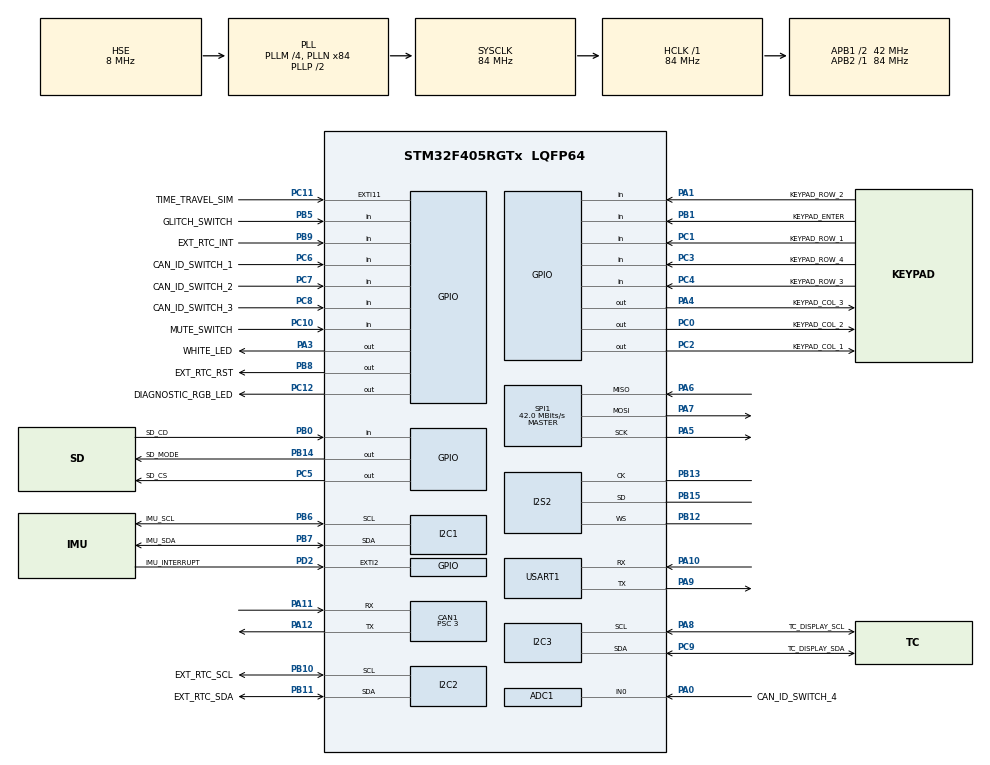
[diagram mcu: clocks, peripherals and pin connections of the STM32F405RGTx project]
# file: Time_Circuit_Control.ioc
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ADC1.Channel-4\#ChannelRegularConversion=ADC_CHANNEL_0
ADC1.NbrOfConversionFlag=1
ADC1.Rank-4\#ChannelRegularConversion=1
ADC1.SamplingTime-4\#ChannelRegularConversion=ADC_SAMPLETIME_3CYCLES
ADC1.master=1
CAN1.BS1=CAN_BS1_10TQ
CAN1.BS2=CAN_BS2_3TQ
CAN1.CalculateBaudRate=1000000
CAN1.CalculateTimeBit=1000
CAN1.CalculateTimeQuantum=71.42857142857143
CAN1.Prescaler=3
Dma.Request0=SPI2_TX
Dma.SPI2_TX.0.Direction=DMA_MEMORY_TO_PERIPH
Dma.SPI2_TX.0.FIFOMode=DMA_FIFOMODE_ENABLE
Dma.SPI2_TX.0.FIFOThreshold=DMA_FIFO_THRESHOLD_FULL
Dma.SPI2_TX.0.Instance=DMA1_Stream4
Dma.SPI2_TX.0.MemBurst=DMA_MBURST_SINGLE
Dma.SPI2_TX.0.MemDataAlignment=DMA_MDATAALIGN_HALFWORD
Dma.SPI2_TX.0.MemInc=DMA_MINC_ENABLE
Dma.SPI2_TX.0.Mode=DMA_CIRCULAR
Dma.SPI2_TX.0.PeriphBurst=DMA_PBURST_SINGLE
Dma.SPI2_TX.0.PeriphDataAlignment=DMA_PDATAALIGN_HALFWORD
Dma.SPI2_TX.0.PeriphInc=DMA_PINC_DISABLE
Dma.SPI2_TX.0.Priority=DMA_PRIORITY_LOW
FREERTOS.Tasks01=MainTask,24,768,StartMainTask,Default,NULL,Dynamic,NULL,NULL;SoundTask,24,512,StartSoundTask,Default,NULL,Dynamic,NULL,NULL;ColonTask,8,256,StartColonTask,Default,NULL,Dynamic,NULL,NULL;CANopenTask,16,256,StartCANopen,Default,NULL,Dynamic,NULL,NULL
FREERTOS.configTOTAL_HEAP_SIZE=0x4000
FREERTOS.configUSE_NEWLIB_REENTRANT=1
I2S2.AudioFreq=I2S_AUDIOFREQ_16K
I2S2.ErrorAudioFreq=-0.26 %
I2S2.FullDuplexMode=I2S_FULLDUPLEXMODE_DISABLE
I2S2.Instance=SPI$Index
I2S2.RealAudioFreq=15.957 KHz
I2S2.VirtualMode=I2S_MODE_MASTER
Mcu.Family=STM32F4
Mcu.Name=STM32F405RGTx
Mcu.Package=LQFP64
NVIC.CAN1_RX0_IRQn=true\:5\:0\:false\:false\:true\:true\:true\:true\:true
NVIC.DMA1_Stream4_IRQn=true\:5\:0\:false\:false\:true\:true\:false\:true\:true
NVIC.EXTI15_10_IRQn=true\:5\:0\:false\:false\:true\:true\:true\:true\:true
NVIC.EXTI2_IRQn=true\:5\:0\:false\:false\:true\:true\:true\:true\:true
NVIC.PriorityGroup=NVIC_PRIORITYGROUP_4
NVIC.TIM6_DAC_IRQn=true\:15\:0\:false\:false\:true\:false\:false\:true\:true
NVIC.TIM7_IRQn=true\:7\:0\:true\:false\:true\:true\:true\:true\:true
NVIC.TimeBase=TIM6_DAC_IRQn
NVIC.TimeBaseIP=TIM6
PA0-WKUP.GPIO_Label=CAN_ID_SWITCH_4
PA0-WKUP.Signal=ADCx_IN0
PA1.GPIO_Label=KEYPAD_ROW_2
PA1.GPIO_PuPd=GPIO_PULLDOWN
PA1.Signal=GPIO_Input
PA10.Mode=Asynchronous
PA10.Signal=USART1_RX
PA11.Mode=CAN_Activate
PA11.Signal=CAN1_RX
PA12.Mode=CAN_Activate
PA12.Signal=CAN1_TX
PA13.Mode=Serial_Wire
PA13.Signal=SYS_JTMS-SWDIO
PA14.Mode=Serial_Wire
PA14.Signal=SYS_JTCK-SWCLK
PA3.GPIO_Label=WHITE_LED
PA3.Signal=GPIO_Output
PA4.GPIO_Label=KEYPAD_COL_3
PA4.Signal=GPIO_Output
PA5.Mode=Full_Duplex_Master
PA5.Signal=SPI1_SCK
PA6.Mode=Full_Duplex_Master
PA6.Signal=SPI1_MISO
PA7.Mode=Full_Duplex_Master
PA7.Signal=SPI1_MOSI
PA8.GPIO_Label=TC_DISPLAY_SCL
PA8.Mode=I2C
PA8.Signal=I2C3_SCL
PA9.Mode=Asynchronous
PA9.Signal=USART1_TX
PB0.GPIO_Label=SD_CD
PB0.Signal=GPIO_Input
PB1.GPIO_Label=KEYPAD_ENTER
PB1.GPIO_PuPd=GPIO_NOPULL
PB1.Signal=GPIO_Input
PB10.GPIO_Label=EXT_RTC_SCL
PB10.Mode=I2C
PB10.Signal=I2C2_SCL
PB11.GPIO_Label=EXT_RTC_SDA
PB11.Mode=I2C
PB11.Signal=I2C2_SDA
PB12.Mode=Half_Duplex_Master
PB12.Signal=I2S2_WS
PB13.Mode=Half_Duplex_Master
PB13.Signal=I2S2_CK
PB14.GPIO_Label=SD_MODE
PB14.GPIO_ModeDefaultOutputPP=GPIO_MODE_OUTPUT_OD
PB14.GPIO_PuPd=GPIO_NOPULL
PB14.PinState=GPIO_PIN_SET
PB14.Signal=GPIO_Output
PB15.Mode=Half_Duplex_Master
PB15.Signal=I2S2_SD
PB5.GPIO_Label=GLITCH_SWITCH
PB5.Signal=GPIO_Input
PB6.GPIO_Label=IMU_SCL
PB6.Mode=I2C
PB6.Signal=I2C1_SCL
PB7.GPIO_Label=IMU_SDA
PB7.Mode=I2C
PB7.Signal=I2C1_SDA
PB8.GPIO_Label=EXT_RTC_RST
PB8.GPIO_PuPd=GPIO_PULLUP
PB8.Signal=GPIO_Output
PB9.GPIO_Label=EXT_RTC_INT
PB9.Signal=GPIO_Input
PC0.GPIO_Label=KEYPAD_COL_2
PC0.Signal=GPIO_Output
PC1.GPIO_Label=KEYPAD_ROW_1
PC1.GPIO_PuPd=GPIO_PULLDOWN
PC1.Signal=GPIO_Input
PC10.GPIO_Label=MUTE_SWITCH
PC10.Signal=GPIO_Input
PC11.GPIO_Label=TIME_TRAVEL_SIM
PC11.Signal=GPXTI11
PC12.GPIO_Label=DIAGNOSTIC_RGB_LED
PC12.Signal=GPIO_Output
PC2.GPIO_Label=KEYPAD_COL_1
PC2.Signal=GPIO_Output
PC3.GPIO_Label=KEYPAD_ROW_4
PC3.GPIO_PuPd=GPIO_PULLDOWN
PC3.Signal=GPIO_Input
PC4.GPIO_Label=KEYPAD_ROW_3
PC4.GPIO_PuPd=GPIO_PULLDOWN
PC4.Signal=GPIO_Input
PC5.GPIO_Label=SD_CS
PC5.GPIO_PuPd=GPIO_NOPULL
PC5.PinState=GPIO_PIN_SET
PC5.Signal=GPIO_Output
PC6.GPIO_Label=CAN_ID_SWITCH_1
PC6.Signal=GPIO_Input
PC7.GPIO_Label=CAN_ID_SWITCH_2
PC7.Signal=GPIO_Input
PC8.GPIO_Label=CAN_ID_SWITCH_3
PC8.Signal=GPIO_Input
PC9.GPIO_Label=TC_DISPLAY_SDA
PC9.Mode=I2C
PC9.Signal=I2C3_SDA
PD2.GPIO_Label=IMU_INTERRUPT
PD2.GPIO_ModeDefaultEXTI=GPIO_MODE_IT_RISING
PD2.GPIO_PuPd=GPIO_NOPULL
PD2.Signal=GPXTI2
PH0-OSC_IN.Mode=HSE-External-Oscillator
PH0-OSC_IN.Signal=RCC_OSC_IN
PH1-OSC_OUT.Mode=HSE-External-Oscillator
PH1-OSC_OUT.Signal=RCC_OSC_OUT
ProjectManager.HeapSize=0x2000
ProjectManager.StackSize=0x2000
ProjectManager.TargetToolchain=CMake
RCC.48MHZClocksFreq_Value=42000000
RCC.AHBFreq_Value=84000000
RCC.APB1CLKDivider=RCC_HCLK_DIV2
RCC.APB1Freq_Value=42000000
RCC.APB1TimFreq_Value=84000000
RCC.APB2Freq_Value=84000000
RCC.APB2TimFreq_Value=84000000
RCC.CortexFreq_Value=84000000
RCC.HCLKFreq_Value=84000000
RCC.HSE_VALUE=8000000
RCC.HSI_VALUE=16000000
RCC.LSE_VALUE=32768
RCC.PLLI2SN=96
RCC.PLLM=4
RCC.PLLN=84
RCC.PLLSourceVirtual=RCC_PLLSOURCE_HSE
RCC.RCC_RTC_Clock_SourceVirtual=RCC_RTCCLKSOURCE_HSE_DIV8
RCC.RCC_RTC_Clock_Source_FROM_HSE=RCC_RTCCLKSOURCE_HSE_DIV8
RCC.SYSCLKFreq_VALUE=84000000
RCC.SYSCLKSource=RCC_SYSCLKSOURCE_PLLCLK
RCC.VCOOutputFreq_Value=168000000
RTC.AsynchPrediv=124
RTC.HourFormat=RTC_HOURFORMAT_12
RTC.SynchPrediv=7999
SH.ADCx_IN0.0=ADC1_IN0,IN0
SPI1.BaudRatePrescaler=SPI_BAUDRATEPRESCALER_2
SPI1.CalculateBaudRate=42.0 MBits/s
SPI1.Direction=SPI_DIRECTION_2LINES
SPI1.Mode=SPI_MODE_MASTER
SPI1.VirtualType=VM_MASTER
TIM7.Period=9
TIM7.Prescaler=8399
USART1.VirtualMode=VM_ASYNC
VP_FATFS_VS_Generic.Mode=User_defined
VP_FREERTOS_VS_CMSIS_V2.Mode=CMSIS_V2
VP_RTC_VS_RTC_Activate.Mode=RTC_Enabled
VP_RTC_VS_RTC_Calendar.Mode=RTC_Calendar
VP_SYS_VS_tim6.Mode=TIM6
VP_TIM7_VS_ClockSourceINT.Mode=Enable_Timer
board=custom

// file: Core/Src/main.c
/* USER CODE BEGIN Header */
/**
  ******************************************************************************
  * @file           : main.c
  * @brief          : Main program body
  ******************************************************************************
  * @attention
  *
  * <h2><center>&copy; Copyright (c) 2022 STMicroelectronics.
  * All rights reserved.</center></h2>
  *
  * This software component is licensed by ST under BSD 3-Clause license,
  * the "License"; You may not use this file except in compliance with the
  * License. You may obtain a copy of the License at:
  *                        opensource.org/licenses/BSD-3-Clause
  *
  ******************************************************************************
  */
/* USER CODE END Header */
#include "main.h"
#include "cmsis_os.h"
#include "adc.h"
#include "can.h"
#include "dma.h"
#include "fatfs.h"
#include "i2c.h"
#include "i2s.h"
#include "rtc.h"
#include "spi.h"
#include "tim.h"
#include "usart.h"
#include "gpio.h"

/* USER CODE BEGIN Includes */
#include "sound_effects.h"
#include "storagedevice_control.h"
#include "timecircuit_control.h"
#include "CO_app_STM32.h"
/* USER CODE END Includes */

/* USER CODE BEGIN PTD */
#include <math.h>
/* USER CODE END PTD */

/* USER CODE BEGIN PV */
// Global handles for config structs
SoundEffects_Config_t* gSoundEffectConfig = NULL;
StorageDevice_Config_t* gStorageConfig = NULL;
TimeCircuit_Control_Config_t* gTimeCircuitConfig = NULL;
/* USER CODE END PV */

void SystemClock_Config(void);
void MX_FREERTOS_Init(void);

int main(void)
{

  /* MCU Configuration--------------------------------------------------------*/

  /* Reset of all peripherals, Initializes the Flash interface and the Systick. */
  HAL_Init();

  /* Configure the system clock */
  SystemClock_Config();

  /* USER CODE BEGIN SysInit */
  HAL_NVIC_DisableIRQ(CAN1_RX0_IRQn);
  /* USER CODE END SysInit */

  /* Initialize all configured peripherals */
  MX_GPIO_Init();
  MX_DMA_Init();
  MX_CAN1_Init();
  MX_I2C1_Init();
  MX_I2C2_Init();
  MX_I2S2_Init();
  MX_I2C3_Init();
  MX_USART1_UART_Init();
  MX_ADC1_Init();
  MX_FATFS_Init();
  MX_RTC_Init();
  MX_SPI1_Init();
  MX_TIM7_Init();
  /* USER CODE BEGIN 2 */

  gStorageConfig = storageDevice_init(&hspi1);
  gSoundEffectConfig = soundEffects_init(&hi2s2);
  gTimeCircuitConfig = timeCircuit_control_init(&hi2c3, &hi2c2, &hrtc, &hi2s2);

  osKernelInitialize();    // Initialize kernel BEFORE creating tasks
  MX_FREERTOS_Init();
  osKernelStart();  // Start the scheduler

  /* USER CODE END 2 */

  /* Init scheduler */
  osKernelInitialize();  /* Call init function for freertos objects (in cmsis_os2.c) */
  MX_FREERTOS_Init();

  /* Start scheduler */
  osKernelStart();

  /* We should never get here as control is now taken by the scheduler */

  /* Infinite loop */
  while (1)
  {

  }
}

void SystemClock_Config(void)
{
  RCC_OscInitTypeDef RCC_OscInitStruct = {0};
  RCC_ClkInitTypeDef RCC_ClkInitStruct = {0};

  /** Configure the main internal regulator output voltage
  */
  __HAL_RCC_PWR_CLK_ENABLE();
  __HAL_PWR_VOLTAGESCALING_CONFIG(PWR_REGULATOR_VOLTAGE_SCALE1);

  /** Initializes the RCC Oscillators according to the specified parameters
  * in the RCC_OscInitTypeDef structure.
  */
  RCC_OscInitStruct.OscillatorType = RCC_OSCILLATORTYPE_HSE;
  RCC_OscInitStruct.HSEState = RCC_HSE_ON;
  RCC_OscInitStruct.PLL.PLLState = RCC_PLL_ON;
  RCC_OscInitStruct.PLL.PLLSource = RCC_PLLSOURCE_HSE;
  RCC_OscInitStruct.PLL.PLLM = 4;
  RCC_OscInitStruct.PLL.PLLN = 84;
  RCC_OscInitStruct.PLL.PLLP = RCC_PLLP_DIV2;
  RCC_OscInitStruct.PLL.PLLQ = 4;
  if (HAL_RCC_OscConfig(&RCC_OscInitStruct) != HAL_OK)
  {
    Error_Handler();
  }

  /** Initializes the CPU, AHB and APB buses clocks
  */
  RCC_ClkInitStruct.ClockType = RCC_CLOCKTYPE_HCLK|RCC_CLOCKTYPE_SYSCLK
                              |RCC_CLOCKTYPE_PCLK1|RCC_CLOCKTYPE_PCLK2;
  RCC_ClkInitStruct.SYSCLKSource = RCC_SYSCLKSOURCE_PLLCLK;
  RCC_ClkInitStruct.AHBCLKDivider = RCC_SYSCLK_DIV1;
  RCC_ClkInitStruct.APB1CLKDivider = RCC_HCLK_DIV2;
  RCC_ClkInitStruct.APB2CLKDivider = RCC_HCLK_DIV1;

  if (HAL_RCC_ClockConfig(&RCC_ClkInitStruct, FLASH_LATENCY_2) != HAL_OK)
  {
    Error_Handler();
  }
}

void HAL_TIM_PeriodElapsedCallback(TIM_HandleTypeDef *htim)
{
  if (htim->Instance == TIM6)
  {
    HAL_IncTick();
  }
  /* USER CODE BEGIN Callback 1 */
  if (htim->Instance == TIM7)  // or whichever timer you use
  {
      canopen_app_interrupt();  // 1ms CANopen tick
  }

  /* USER CODE END Callback 1 */
}

void Error_Handler(void)
{
  __disable_irq();
  while (1)
  {
  }
}

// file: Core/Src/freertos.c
/* USER CODE BEGIN Header */
/**
  ******************************************************************************
  * File Name          : freertos.c
  * Description        : Code for freertos applications
  ******************************************************************************
  * @attention
  *
  * Copyright (c) 2025 STMicroelectronics.
  * All rights reserved.
  *
  * This software is licensed under terms that can be found in the LICENSE file
  * in the root directory of this software component.
  * If no LICENSE file comes with this software, it is provided AS-IS.
  *
  ******************************************************************************
  */
/* USER CODE END Header */

#include "FreeRTOS.h"
#include "task.h"
#include "main.h"
#include "cmsis_os.h"

/* USER CODE BEGIN Includes */

#include <stdbool.h>
#include <string.h>
#include "sound_effects.h"
#include "timecircuit_control.h"
#include "imu.h"
#include "CO_app_STM32.h"
#include "OD.h"

/* USER CODE END Includes */

/* USER CODE BEGIN Variables */
// Global handles for tasks and queue
osThreadId_t soundTaskHandle;
osThreadId_t colonTaskHandle;
osThreadId_t mainTaskHandle;
osMessageQueueId_t soundQueueHandle;

// External configuration handles (should be defined elsewhere)
extern SoundEffects_Config_t* gSoundEffectConfig;
extern StorageDevice_Config_t* gStorageConfig;
extern TimeCircuit_Control_Config_t* gTimeCircuitConfig;
extern CAN_HandleTypeDef hcan1;
extern TIM_HandleTypeDef htim7;
extern void MX_CAN1_Init(void);

// Global flag for sound playing
bool gIsPlaying = false;

// Colon beep is low-priority background "tick" - it must never delay or
// queue up ahead of interactive sounds (keypad, enter, glitch, locked). It's
// requested via this flag instead of the shared queue so multiple pending
// requests coalesce into a single pending beep instead of backing up.
volatile bool gColonPending = false;
volatile uint32_t gColonRequestTick = 0;
#define COLON_STALE_MS 500 // one colon blink half-period - older than this, skip it

// Set by StartRtcInitTask once timeCircuit_control_initRTC() returns, success
// or failure - lets StartMainTask give the RTC a short bounded head start
// before the displays first light up, so present time doesn't visibly jump
// right after power-on (see the wait in StartMainTask). Bounded so a
// hung/missing RTC still can never block boot - see StartRtcInitTask.
volatile bool gRtcInitDone = false;
#define RTC_INIT_WAIT_TIMEOUT_MS 500

/* USER CODE END Variables */
/* Definitions for MainTask */
osThreadId_t MainTaskHandle;
const osThreadAttr_t MainTask_attributes = {
  .name = "MainTask",
  .stack_size = 768 * 4,
  .priority = (osPriority_t) osPriorityNormal,
};
/* Definitions for SoundTask */
osThreadId_t SoundTaskHandle;
const osThreadAttr_t SoundTask_attributes = {
  .name = "SoundTask",
  .stack_size = 512 * 4,
  .priority = (osPriority_t) osPriorityAboveNormal,
};
/* Definitions for ColonTask */
osThreadId_t ColonTaskHandle;
const osThreadAttr_t ColonTask_attributes = {
  .name = "ColonTask",
  .stack_size = 256 * 4,
  .priority = (osPriority_t) osPriorityLow,
};
/* Definitions for CANopenTask */
osThreadId_t CANopenTaskHandle;
const osThreadAttr_t CANopenTask_attributes = {
  .name = "CANopenTask",
  .stack_size = 256 * 4,
  .priority = (osPriority_t) osPriorityBelowNormal,
};
/* Definitions for RtcInitTask - isolated so a stuck/hanging RTC I2C bus can
 * never block MainTask, SoundTask, ColonTask or CANopenTask from running. */
osThreadId_t RtcInitTaskHandle;
const osThreadAttr_t RtcInitTask_attributes = {
  .name = "RtcInitTask",
  .stack_size = 256 * 4,
  .priority = (osPriority_t) osPriorityLow,
};

void StartMainTask(void *argument);
void StartSoundTask(void *argument);
void StartColonTask(void *argument);
void StartCANopen(void *argument);
void StartRtcInitTask(void *argument);

void MX_FREERTOS_Init(void); /* (MISRA C 2004 rule 8.1) */

void MX_FREERTOS_Init(void) {
  /* USER CODE BEGIN Init */
  soundQueueHandle = osMessageQueueNew(8, sizeof(char[32]), NULL);
  configASSERT(soundQueueHandle != NULL);

  /* USER CODE END Init */

  /* Create the thread(s) */
  /* creation of MainTask */
  MainTaskHandle = osThreadNew(StartMainTask, NULL, &MainTask_attributes);

  /* creation of SoundTask */
  SoundTaskHandle = osThreadNew(StartSoundTask, NULL, &SoundTask_attributes);

  /* creation of ColonTask */
  ColonTaskHandle = osThreadNew(StartColonTask, NULL, &ColonTask_attributes);

  /* creation of CANopenTask */
  CANopenTaskHandle = osThreadNew(StartCANopen, NULL, &CANopenTask_attributes);

  /* USER CODE BEGIN RTOS_THREADS */
  /* creation of RtcInitTask */
  RtcInitTaskHandle = osThreadNew(StartRtcInitTask, NULL, &RtcInitTask_attributes);
  /* USER CODE END RTOS_THREADS */

}

void StartMainTask(void *argument)
{
  /* USER CODE BEGIN StartMainTask */
  // Plays the startup sound and draws the displays (already left blank by
  // timeCircuit_control_init()) together - see
  // timeCircuit_control_playStartupSequence(). Deliberately runs before
  // imu_bno055_init() below: that call blocks for ~2.1s total (a mandatory
  // 1500ms power-on settle delay plus BNO055 mode-switch delays), which
  // used to sit in front of the startup sequence and made the displays
  // stay dark for that whole time on every boot. Nothing at boot depends
  // on the IMU being ready immediately, so it's fine for its init to
  // finish a couple seconds into the sound/display sequence instead - the
  // main loop below still only starts once it's done either way.
  //
  // Give RtcInitTask a short bounded head start first: a normal DS3231 read
  // (bus recovery + init) finishes in a handful of ms, but without waiting
  // at all, playStartupSequence() below usually wins the race and draws the
  // present display with yesterday's last-saved SD time, which then jumps
  // to the real time a couple of main-loop ticks later. Capped at
  // RTC_INIT_WAIT_TIMEOUT_MS so a hung/missing RTC still can never delay
  // boot beyond that - it just falls through and draws the SD-stored value
  // as before, same as if this wait wasn't here at all.
  uint32_t rtcWaitStartTick = HAL_GetTick();
  while (!gRtcInitDone && (HAL_GetTick() - rtcWaitStartTick) < RTC_INIT_WAIT_TIMEOUT_MS)
  {
    osDelay(2);
  }

  timeCircuit_control_playStartupSequence(gTimeCircuitConfig);

  imu_bno055_init();

  /* Infinite loop */
  for(;;)
  {
    timeCircuit_control_update(gTimeCircuitConfig);
    imu_bno055_service();
    osDelay(20); // Run control update every 20ms (adjust as needed)

  }
  /* USER CODE END StartMainTask */
}

void StartSoundTask(void *argument)
{
  /* USER CODE BEGIN StartSoundTask */
  extern char colonSound_filename[];
  char currentSound[32];

  for(;;)
  {
    bool haveSound = false;
    bool playingColon = false;

    if (osMessageQueueGet(soundQueueHandle, &currentSound, NULL, 0) == osOK) {
      haveSound = true;
    } else if (gColonPending) {
      gColonPending = false;
      if ((HAL_GetTick() - gColonRequestTick) <= COLON_STALE_MS) {
        strncpy(currentSound, colonSound_filename, sizeof(currentSound) - 1);
        currentSound[sizeof(currentSound) - 1] = '\0';
        haveSound = true;
        playingColon = true;
      }
      // else: too much time has passed since this beep was due (SoundTask
      // was busy with something else) - drop it rather than play it late.
    }

    if (haveSound)
    {
      soundEffects_playSound(gSoundEffectConfig, gStorageConfig, currentSound);
      while (gIsPlaying)
      {
        // Only the low-priority colon beep gets preempted by a real request
        // arriving mid-playback. Two real sounds queued back-to-back (e.g.
        // fast keypad typing) must NOT interrupt each other - each plays to
        // completion in order, they just never wait behind a colon beep.
        if (playingColon)
        {
          char interrupting[32];
          if (osMessageQueueGet(soundQueueHandle, &interrupting, NULL, 0) == osOK)
          {
            soundEffects_playSound(gSoundEffectConfig, gStorageConfig, interrupting);
            playingColon = false;
            continue;
          }
        }
        soundEffects_update(gSoundEffectConfig, gStorageConfig);
        osDelay(1);
      }
    }
    else
    {
      osDelay(1);
    }
  }
  /* USER CODE END StartSoundTask */
}

void StartColonTask(void *argument)
{
  /* USER CODE BEGIN StartColonTask */
  /* Infinite loop */
  for(;;)
  {
    timeCircuit__toggleTimeColon(gTimeCircuitConfig);

    osDelay(500);

}
  /* USER CODE END StartColonTask */
}

void StartCANopen(void *argument)
{
  /* USER CODE BEGIN StartCANopen */

  CANopenNodeSTM32 canOpenNodeSTM32;
  canOpenNodeSTM32.CANHandle = &hcan1;
  canOpenNodeSTM32.HWInitFunction = MX_CAN1_Init;
  canOpenNodeSTM32.timerHandle = &htim7;
  canOpenNodeSTM32.desiredNodeID = 21;
  canOpenNodeSTM32.baudrate = 1000;
  canopen_app_init(&canOpenNodeSTM32);

  HAL_TIM_Base_Start_IT(&htim7);
  HAL_CAN_Start(&hcan1);
  HAL_NVIC_SetPriority(CAN1_RX0_IRQn, 6, 0);
  HAL_NVIC_EnableIRQ(CAN1_RX0_IRQn);
  /* Infinite loop */
  for(;;)
  {

    canopen_app_process();

    vTaskDelay(pdMS_TO_TICKS(1));
  }
  /* USER CODE END StartCANopen */
}

/**
* @brief One-shot task: initializes the external RTC after the scheduler is
* already running. If the RTC I2C bus is stuck or the hardware is faulty,
* this task alone stalls - every other task (keypad/display, sound, colon,
* CAN) continues completely unaffected, guaranteeing the RTC can never again
* prevent the rest of the board from booting and working normally.
* @param argument: Not used
* @retval None
*/
void StartRtcInitTask(void *argument)
{
  timeCircuit_control_initRTC(gTimeCircuitConfig);

  // Signal StartMainTask's boot-time wait (see above) that the RTC attempt
  // is over, whether it succeeded or not - either way there's nothing more
  // for that wait to usefully wait for.
  gRtcInitDone = true;

  // One-shot - nothing left to do, so just idle forever rather than exit
  // (avoids relying on osThreadExit/OS task cleanup semantics).
  for(;;)
  {
    osDelay(1000);
  }
}
